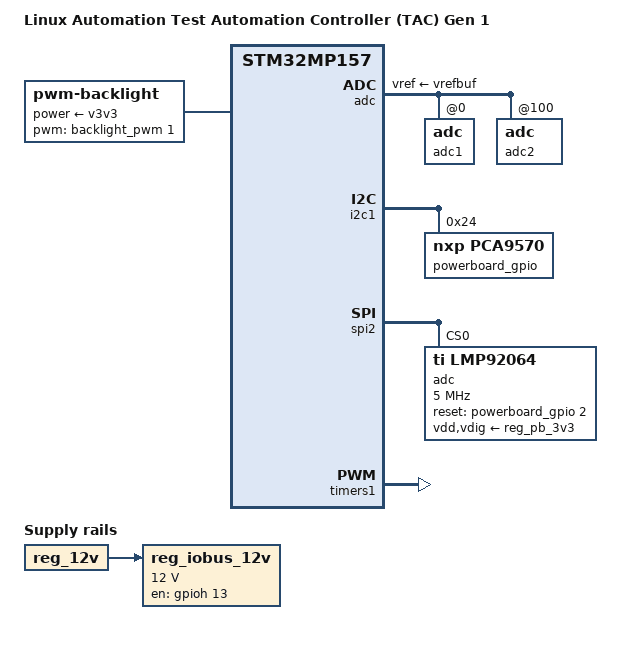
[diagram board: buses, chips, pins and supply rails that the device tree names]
// SPDX-License-Identifier: (GPL-2.0-or-later OR BSD-3-Clause)
/*
 * Copyright (C) 2020 STMicroelectronics - All Rights Reserved
 * Copyright (C) 2021 Rouven Czerwinski, Pengutronix
 * Copyright (C) 2023 Leonard Göhrs, Pengutronix
 */

/dts-v1/;

#include "stm32mp157.dtsi"
#include "stm32mp15xc-lxa-tac.dtsi"

/ {
	model = "Linux Automation Test Automation Controller (TAC) Gen 1";
	compatible = "lxa,stm32mp157c-tac-gen1", "oct,stm32mp15xx-osd32", "st,stm32mp157";

	backlight: backlight {
		compatible = "pwm-backlight";
		power-supply = <&v3v3>;

		brightness-levels = <0 31 63 95 127 159 191 223 255>;
		default-brightness-level = <7>;
		pwms = <&backlight_pwm 1 1000000 0>;
	};

	reg_iobus_12v: regulator-iobus-12v {
		compatible = "regulator-fixed";
		vin-supply = <&reg_12v>;

		gpio = <&gpioh 13 GPIO_ACTIVE_HIGH>;
		enable-active-high;
		regulator-max-microvolt = <12000000>;
		regulator-min-microvolt = <12000000>;
		regulator-name = "12V_IOBUS";
	};
};

&adc {
	pinctrl-names = "default";
	pinctrl-0 = <&adc1_ain_pins_a>;
	vdd-supply = <&vdd>;
	vdda-supply = <&vdda>;
	vref-supply = <&vrefbuf>;
	status = "okay";

	adc1: adc@0 {
		st,adc-channels = <0 1 2 5 9 10 13 15>;
		st,min-sample-time-nsecs = <5000>;
		#address-cells = <1>;
		#size-cells = <0>;
		status = "okay";

		channel@0 {
			reg = <0>;
			label = "HOST_2_CURR_FB";
		};

		channel@1 {
			reg = <1>;
			label = "HOST_3_CURR_FB";
		};

		channel@2 {
			reg = <2>;
			label = "OUT_0_FB";
		};

		channel@5 {
			reg = <5>;
			label = "IOBUS_CURR_FB";
		};

		channel@9 {
			reg = <9>;
			label = "IOBUS_VOLT_FB";
		};

		channel@10 {
			reg = <10>;
			label = "OUT_1_FB";
		};

		channel@13 {
			reg = <13>;
			label = "HOST_CURR_FB";
		};

		channel@15 {
			reg = <15>;
			label = "HOST_1_CURR_FB";
		};
	};

	adc2: adc@100 {
		st,adc-channels = <12>;
		st,min-sample-time-nsecs = <500000>;
		#address-cells = <1>;
		#size-cells = <0>;
		status = "okay";

		channel@12 {
			reg = <12>;
			label = "TEMP_INTERNAL";
		};
	};
};

&gpioa {
	gpio-line-names = "", "", "STACK_CS2", "", "STACK_CS3", /*  0 */
	"ETH_GPIO1", "ETH_INT", "", "", "",                     /*  5 */
	"", "", "", "BOOTROM_LED", "ETH_LAB_LEDRP",             /* 10 */
	"";                                                     /* 15 */
};

&gpioc {
	gpio-line-names = "", "STACK_CS1", "", "", "", /*  0 */
	"", "", "", "", "",                            /*  5 */
	"", "";                                        /* 10 */
};

&gpioe {
	gpio-line-names = "TP35", "", "", "", "CAN_1_120R", /*  0 */
	"", "", "USER_BTN2", "TP48", "UART_TX_EN",          /*  5 */
	"UART_RX_EN", "TP24", "", "TP25", "TP26",           /* 10 */
	"TP27";                                             /* 15 */
};

&gpiog {
	gpio-line-names = "ETH_RESET", "", "", "", "",               /*  0 */
	"IOBUS_FLT_FB", "", "USER_LED2", "ETH1_PPS_A", "CAN_0_120R", /*  5 */
	"TP49", "", "", "", "",                                      /* 10 */
	"";                                                          /* 15 */
};

&gpu {
	status = "disabled";
};

&i2c1 {
	powerboard_gpio: gpio@24 {
		compatible = "nxp,pca9570";
		reg = <0x24>;

		#gpio-cells = <2>;
		gpio-controller;
		gpio-line-names = "DUT_PWR_EN", "DUT_PWR_DISCH", "DUT_PWR_ADCRST", "";
	};
};

&spi2 {
	adc@0 {
		compatible = "ti,lmp92064";
		reg = <0>;
		spi-max-frequency = <5000000>;
		vdd-supply = <&reg_pb_3v3>;
		vdig-supply = <&reg_pb_3v3>;
		reset-gpios = <&powerboard_gpio 2 GPIO_ACTIVE_HIGH>;

		shunt-resistor-micro-ohms = <15000>;
	};
};

&timers1 {
	/* spare dmas for other usage */
	/delete-property/dmas;
	/delete-property/dma-names;

	status = "okay";

	backlight_pwm: pwm {
		pinctrl-names = "default", "sleep";
		pinctrl-0 = <&pwm1_pins_c>;
		pinctrl-1 = <&pwm1_sleep_pins_c>;

		status = "okay";
	};
};
